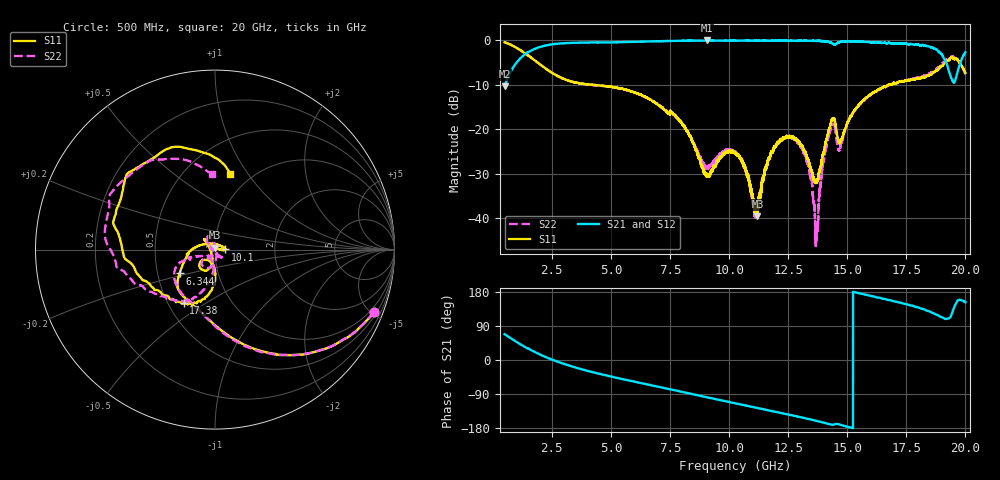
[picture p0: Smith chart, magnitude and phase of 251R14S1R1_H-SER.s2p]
! Created Tue May  5 12:31:24 2020
# mhz S ma R 50
! 2 Port Network Data from SP1.SP block
! freq  magS11  angS11  magS21  angS21  magS12  angS12  magS22  angS22
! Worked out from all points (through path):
!   19501 points, 500 MHz to 20 GHz, reference 50 ohm
!   highest |S21| = -0.03 dB at 9.08 GHz (marker M1); lowest = -10.3 dB at 500 MHz (marker M2)
!   lowest |S11| = -39.6 dB at 11.2 GHz (marker M3), VSWR 1.02, Z = 50.1 + j1.04 ohm
!   |S11| at or under -10 dB: 4.122 GHz to 16.8 GHz (12.68 GHz wide, 121 % of centre); 16.80225 GHz to 16.81215 GHz (9.9 MHz wide, 0.0589 % of centre); 16.84925 GHz to 16.86524 GHz (15.99 MHz wide, 0.0948 % of centre) (the widest 3 of 15)
!   |S22| runs from -46.3 to -0.4 dB; largest |S21 - S12| = 0.011
!   S11 on the Smith chart (normalised r, x): 500 MHz: 0.71, -5.14; 6.344 GHz: 0.65, -0.18; 10.1 GHz: 1.12, +0.00; 17.38 GHz: 0.60, -0.41; 20 GHz: 0.80, +0.83
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500  0.9504 -21.6  0.3048 68.1  0.3046 68.1  0.9505 -21.5
2088  0.5138 -77.6  0.8553 11.8  0.8547 11.8  0.5137 -78.5
3750  0.325 -115.6  0.9413 -24.3  0.942 -24.4  0.3256 -112.7
6344  0.2374 -145.9  0.9649 -62.0  0.9662 -62.0  0.236 -156.3
7000  0.1866 -157.7  0.9775 -70.6  0.9756 -70.6  0.1883 -160.7
9080  0.02974 78.2  0.9963 -98.6  0.9939 -98.6  0.03775 -94.0
10099  0.05594 0.8  0.9931 -112.2  0.9914 -112.3  0.05794 -50.2
10250  0.05414 -1.8  0.9919 -114.2  0.9917 -114.2  0.05504 -49.8
11200  0.01048 83.5  0.9948 -126.7  0.9947 -126.7  0.01364 -157.9
11714  0.04806 134.2  0.9928 -133.5  0.9887 -133.5  0.04728 139.6
12372  0.07973 136.3  0.9883 -142.2  0.9883 -142.3  0.07996 121.4
13045  0.06704 139.2  0.9888 -151.4  0.9884 -151.3  0.06362 107.0
13500  0.03341 159.8  0.9864 -157.7  0.985 -157.8  0.02548 90.0
13708  0.02652 -149.4  0.9855 -160.6  0.9829 -160.9  0.007892 -10.9
14008  0.0548 -105.6  0.9787 -165.4  0.976 -165.5  0.0441 -81.3
14342  0.1274 -112.4  0.9314 -170.9  0.929 -170.9  0.111 -110.9
14676  0.06984 -119.4  0.9551 -170.2  0.9532 -170.4  0.05884 -114.2
16750  0.3153 -108.6  0.9381 158.1  0.9364 158.3  0.3128 -116.5
17383  0.3461 -120.2  0.9143 148.8  0.9137 148.7  0.3504 -124.8
19211  0.5874 162.8  0.5424 108.4  0.5397 108.9  0.6092 175.3
19619  0.6187 113.6  0.395 151.6  0.3958 151.3  0.617 129.7
20000  0.4298 78.7  0.7343 152.4  0.7354 152.5  0.4234 92.5
